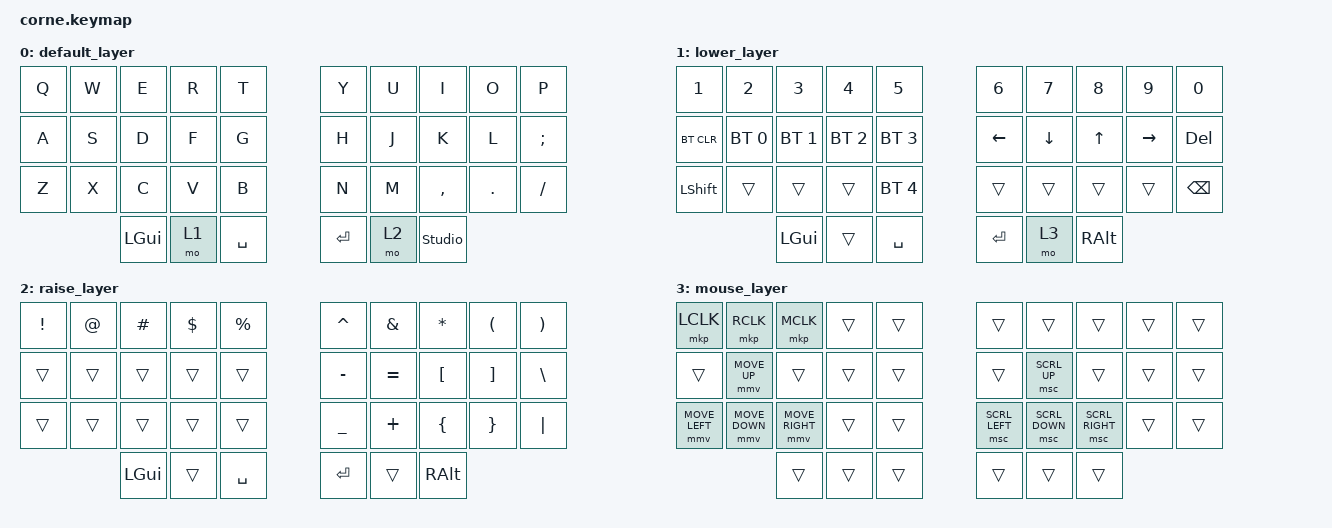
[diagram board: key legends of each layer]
/*
 * Copyright (c) 2020 The ZMK Contributors
 *
 * SPDX-License-Identifier: MIT
 */

#include <behaviors.dtsi>
#include <dt-bindings/zmk/keys.h>
#include <dt-bindings/zmk/bt.h>
#include <dt-bindings/zmk/pointing.h>

/ {
        keymap {
                compatible = "zmk,keymap";

                default_layer {
// -----------------------------------------------------------------------------------------
// |  Q  |  W  |  E  |  R  |  T  |   |  Y  |  U   |  I  |  O  |  P  |
// |  A  |  S  |  D  |  F  |  G  |   |  H  |  J   |  K  |  L  |  ;  |
// |  Z  |  X  |  C  |  V  |  B  |   |  N  |  M   |  ,  |  .  |  /  |
//             | GUI | LWR | SPC |   | ENT | RSE  | ALT |
                        bindings = <
   &kp Q &kp W &kp E &kp R &kp T   &kp Y &kp U  &kp I     &kp O   &kp P
   &kp A &kp S &kp D &kp F &kp G   &kp H &kp J  &kp K     &kp L   &kp SEMI
   &kp Z &kp X &kp C &kp V &kp B   &kp N &kp M  &kp COMMA &kp DOT &kp FSLH
              &kp LGUI &mo 1 &kp SPACE   &kp RET &mo 2 &studio_unlock
                        >;
                };

                lower_layer {
// -----------------------------------------------------------------------------------------
// |  1  |  2  |  3  |  4  |  5  |   |  6  |  7  |  8  |  9  |  0  |
// | BTCLR| BT1 | BT2 | BT3 | BT4 |   | LFT | DWN |  UP | RGT | DEL |
// | SHFT |     |     |     | BT5 |   |     |     |     |     | BSPC|
//              | GUI |     | SPC |   | ENT |     | ALT |
                        bindings = <
   &kp N1       &kp N2       &kp N3       &kp N4       &kp N5           &kp N6   &kp N7   &kp N8 &kp N9    &kp N0
   &bt BT_CLR   &bt BT_SEL 0 &bt BT_SEL 1 &bt BT_SEL 2 &bt BT_SEL 3     &kp LEFT &kp DOWN &kp UP &kp RIGHT &kp DEL
   &kp LSHFT    &trans       &trans       &trans       &bt BT_SEL 4     &trans   &trans   &trans &trans    &kp BSPC
                                      &kp LGUI     &trans       &kp SPACE        &kp RET  &mo 3  &kp RALT
                        >;
                };

                raise_layer {
// -----------------------------------------------------------------------------------------
// |  !  |  @  |  #  |  $  |  %  |   |  ^  |  &  |  *  |  (  |  )  |
// |     |     |     |     |     |   |  -  |  =  |  [  |  ]  |  \  |
// |     |     |     |     |     |   |  _  |  +  |  {  |  }  | "|" |
//             | GUI |     | SPC |   | ENT |     | ALT |
                        bindings = <
   &kp EXCL &kp AT &kp HASH &kp DLLR &kp PRCNT   &kp CARET &kp AMPS  &kp ASTRK &kp LPAR &kp RPAR
   &trans   &trans &trans   &trans   &trans       &kp MINUS &kp EQUAL &kp LBKT  &kp RBKT &kp BSLH
   &trans   &trans &trans   &trans   &trans       &kp UNDER &kp PLUS  &kp LBRC  &kp RBRC &kp PIPE
                   &kp LGUI &trans   &kp SPACE    &kp RET   &trans    &kp RALT
                        >;
                };

                mouse_layer {
// -----------------------------------------------------------------------------------------
// | LCLK| RCLK| MCLK|     |     |   |     |     |     |     |     |
// |     | M_UP|     |     |     |   |     | S_UP|     |     |     |
// | M_LT| M_DN| M_RT|     |     |   | S_LT| S_DN| S_RT|     |     |
//             |     |     |     |   |     |     |     |
                        bindings = <
   &mkp LCLK      &mkp RCLK      &mkp MCLK       &trans &trans   &trans         &trans         &trans          &trans &trans
   &trans         &mmv MOVE_UP   &trans          &trans &trans   &trans         &msc SCRL_UP   &trans          &trans &trans
   &mmv MOVE_LEFT &mmv MOVE_DOWN &mmv MOVE_RIGHT &trans &trans   &msc SCRL_LEFT &msc SCRL_DOWN &msc SCRL_RIGHT &trans &trans
                                 &trans          &trans &trans   &trans         &trans         &trans
                        >;
                };
        };
};
